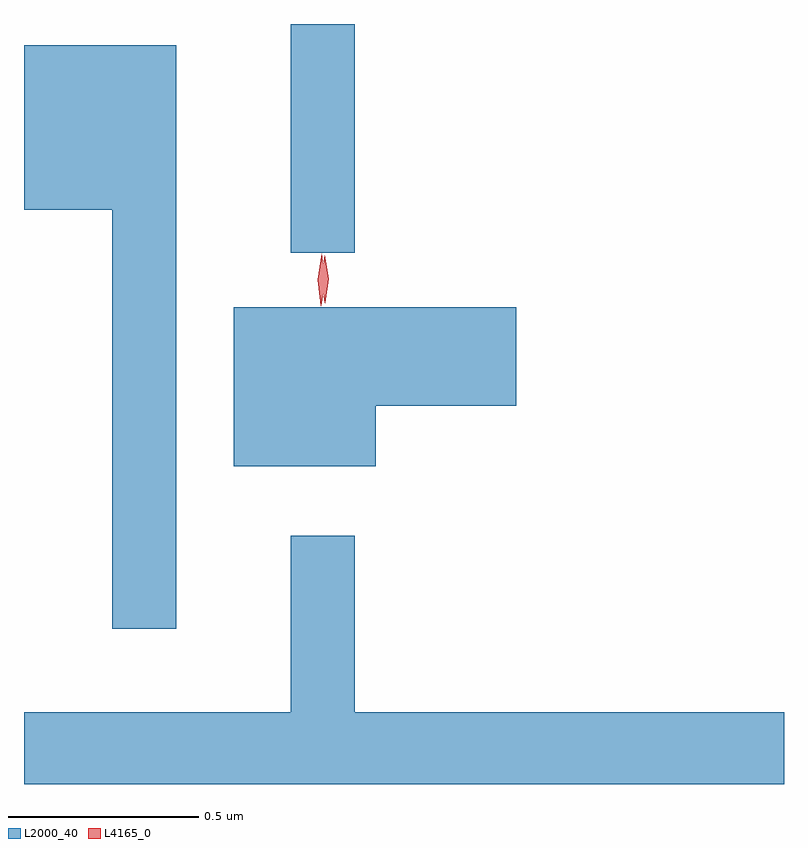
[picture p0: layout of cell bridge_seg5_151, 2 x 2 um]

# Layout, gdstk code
import gdstk
lib = gdstk.Library(unit=1e-6, precision=1e-09)
def R(c, l, rs):  # rectangles x0, y0, x1, y1
    for r in rs: c.add(gdstk.rectangle(r[:2], r[2:], *l))
def P(c, l, *ps):  # polygons
    for p in ps: c.add(gdstk.Polygon(p, *l))
L2000_40 = (2000, 40)
L4165_0 = (4165, 0)

bridge_seg5_151 = lib.new_cell('bridge_seg5_151')
R(bridge_seg5_151, L2000_40, [(1084.771,1460.493,1084.939,1461.095)])
P(bridge_seg5_151, L2000_40, [(1084.469,1461.039),(1084.069,1461.039),(1084.069,1460.606),(1084.301,1460.606),(1084.301,1459.503),(1084.469,1459.503)],
  [(1084.994,1460.091),(1085.364,1460.091),(1085.364,1460.349),(1084.621,1460.349),(1084.621,1459.931),(1084.994,1459.931)],
  [(1086.069,1459.284),(1084.939,1459.284),(1084.939,1459.748),(1084.771,1459.748),(1084.771,1459.284),(1084.069,1459.284),(1084.069,1459.095),(1086.069,1459.095)])
P(bridge_seg5_151, L4165_0, [(1084.85,1460.354),(1084.842,1460.422),(1084.852,1460.49),(1084.852,1460.49),(1084.853,1460.49),(1084.862,1460.422),(1084.851,1460.354),(1084.851,1460.354)],
  [(1084.862,1460.36),(1084.861,1460.361),(1084.851,1460.424),(1084.86,1460.486),(1084.86,1460.487),(1084.861,1460.486),(1084.871,1460.424),(1084.862,1460.361)])

lib.write_gds('bridge_seg5_151.gds')
